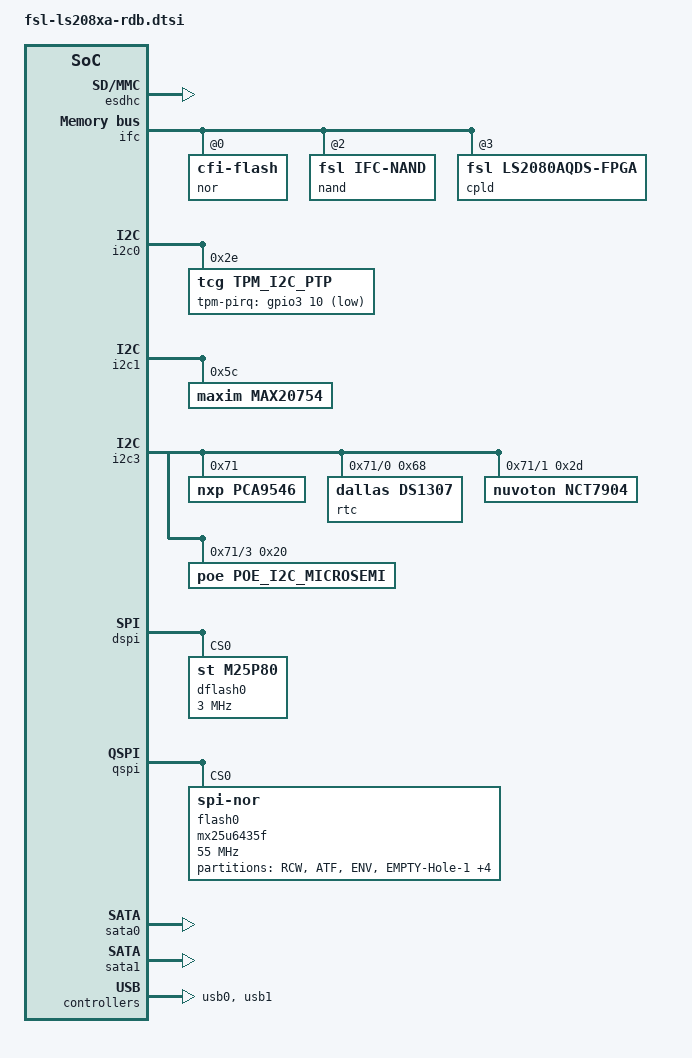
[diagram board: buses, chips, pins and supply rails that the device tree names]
// SPDX-License-Identifier: (GPL-2.0+ OR MIT)
/*
 * Device Tree file for Freescale LS2080A RDB Board.
 *
 * Copyright 2016 Freescale Semiconductor, Inc.
 * Copyright 2017 NXP
 *
 * Abhimanyu Saini <abhimanyu.saini@nxp.com>
 *
 */

&esdhc {
	status = "okay";
};

&ifc {
	status = "okay";
	#address-cells = <2>;
	#size-cells = <1>;
	ranges = <0x0 0x0 0x5 0x80000000 0x08000000
		  0x2 0x0 0x5 0x30000000 0x00010000
		  0x3 0x0 0x5 0x20000000 0x00010000>;

	nor@0,0 {
		#address-cells = <1>;
		#size-cells = <1>;
		compatible = "cfi-flash";
		reg = <0x0 0x0 0x8000000>;
		bank-width = <2>;
		device-width = <1>;
	};

	nand@2,0 {
	     compatible = "fsl,ifc-nand";
	     reg = <0x2 0x0 0x10000>;
	};

	cpld@3,0 {
	     reg = <0x3 0x0 0x10000>;
	     compatible = "fsl,ls2080aqds-fpga", "fsl,fpga-qixis";
	};

};

&i2c0 {
	status = "okay";
#if 1
	tpm_i2c_ptp@2e {
        compatible = "tcg,tpm_i2c_ptp";
        reg = <0x2e>;
		tpm-pirq = <&gpio3 10 1>;
    };
#else
	pca9547@75 {
		compatible = "nxp,pca9547";
		reg = <0x75>;
		#address-cells = <1>;
		#size-cells = <0>;
		i2c-mux-never-disable;
		i2c@1 {
			#address-cells = <1>;
			#size-cells = <0>;
			reg = <0x01>;
			rtc@68 {
				compatible = "dallas,ds3232";
				reg = <0x68>;
			};
		};

		i2c@2 {
			#address-cells = <1>;
			#size-cells = <0>;
			reg = <0x02>;

			ina220@40 {
				compatible = "ti,ina220";
				reg = <0x40>;
				shunt-resistor = <500>;
			};
		};

		i2c@3 {
			#address-cells = <1>;
			#size-cells = <0>;
			reg = <0x3>;

			adt7481@4c {
				compatible = "adi,adt7461";
				reg = <0x4c>;
			};
		};
	};
#endif
};

&i2c1 {
	status = "okay";
	max20754@29 {
        compatible = "maxim,max20754";
        reg = <0x5c>;
	};
};

&i2c2 {
	status = "disabled";
};

&i2c3 {
	status = "okay";
	pca9546@71 {
		compatible = "nxp,pca9546";
		reg = <0x71>;
		#address-cells = <1>;
		#size-cells = <0>;
		i2c-mux-never-disable;
		i2c@0 {
			#address-cells = <1>;
			#size-cells = <0>;
			reg = <0x00>;
			rtc@68 {
				compatible = "dallas,ds1307";
				reg = <0x68>;
			};
		};

		i2c@1 {
			#address-cells = <1>;
			#size-cells = <0>;
			reg = <0x01>;
			nct7904@2d {
		compatible = "nuvoton,nct7904";
		reg = <0x2d>;
			};
		};
#if 0
		i2c@2 {
			#address-cells = <1>;
			#size-cells = <0>;
			reg = <0x02>;
			tmp75@4a {
		compatible = "ti,tmp75";
		reg = <0x4a>;
			};
			tmp75@4b {
		compatible = "ti,tmp75";
		reg = <0x4b>;
			};
		};
#endif
		i2c@3 {
			#address-cells = <1>;
			#size-cells = <0>;
			reg = <0x03>;
			poe@20 {
		compatible = "poe,poe_i2c_microsemi";
		reg = <0x20>;
			};
		};
    };
};

&dspi {
	status = "okay";
	dflash0: n25q512a@0 {
		#address-cells = <1>;
		#size-cells = <1>;
		compatible = "st,m25p80";
		spi-max-frequency = <3000000>;
		reg = <0>;
	};
};

&qspi {
	status = "okay";
#if 0
	flash0: s25fs512s@0 {
		#address-cells = <1>;
		#size-cells = <1>;
		compatible = "spansion,m25p80";
		m25p,fast-read;
		spi-max-frequency = <20000000>;
		reg = <0>;
	};
#endif
	flash0: mx25u6435f@0 {
		#address-cells = <1>;
		#size-cells = <1>;
		compatible = "jedec,spi-nor";
		spi-max-frequency = <55000000>;
		reg = <0>;

		partition@rcw {
        		label = "RCW";
                reg = <0x0 0x100000>;
        };

        partition@atf {
                label = "ATF";
                reg = <0x100000 0x100000>;
        };

        partition@env {
                label = "ENV";
                reg = <0x200000 0x10000>;
        };

		partition@EMPTY-Hole-1 {
                label = "EMPTY-Hole-1";
                reg = <0x210000 0x1f0000>;
        };

        partition@mc-fw {
                label = "MC-FW";
                reg = <0x400000 0x200000>;
        };

		partition@dpl {
                label = "DPL";
                reg = <0x600000 0x20000>;
        };

		partition@dpc {
                label = "DPC";
                reg = <0x620000 0x20000>;
        };

        partition@WG-MFG {
                label = "WG-MFG";
                reg = <0x640000 0x1c0000>;
        };
	};
};

&sata0 {
	status = "okay";
};

&sata1 {
	status = "okay";
};

&usb0 {
	status = "okay";
};

&usb1 {
	status = "okay";
};
